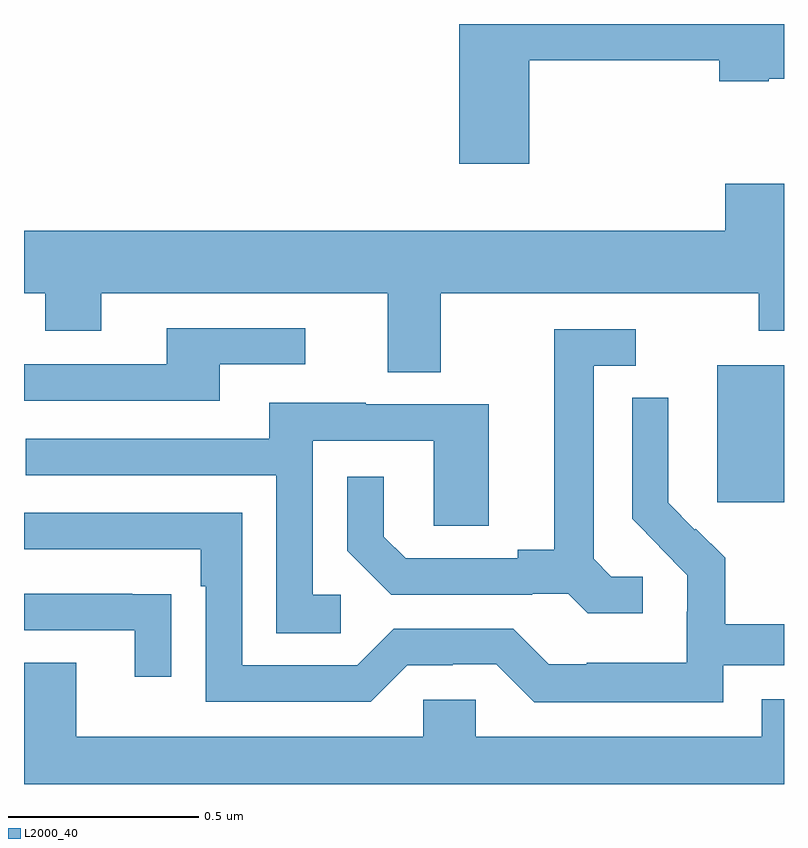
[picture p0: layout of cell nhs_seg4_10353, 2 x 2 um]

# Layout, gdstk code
import gdstk
lib = gdstk.Library(unit=1e-6, precision=1e-09)
def R(c, l, rs):  # rectangles x0, y0, x1, y1
    for r in rs: c.add(gdstk.rectangle(r[:2], r[2:], *l))
def P(c, l, *ps):  # polygons
    for p in ps: c.add(gdstk.Polygon(p, *l))
L2000_40 = (2000, 40)

nhs_seg4_10353 = lib.new_cell('nhs_seg4_10353')
R(nhs_seg4_10353, L2000_40, [(240.824,757.641,241,758.002)])
P(nhs_seg4_10353, L2000_40, [(240.329,758.805),(240.83,758.805),(240.83,758.75),(240.96,758.75),(240.96,758.756),(241,758.756),(241,758.9),(240.146,758.9),(240.146,758.532),(240.329,758.532)],
  [(240.097,758.192),(240.934,758.192),(240.934,758.093),(241,758.093),(241,758.48),(240.845,758.48),(240.845,758.356),(239,758.356),(239,758.192),(239.056,758.192),(239.056,758.093),(239.203,758.093),(239.203,758.192),(239.957,758.192),(239.957,757.984),(240.097,757.984)],
  [(239.515,758.004),(239.74,758.004),(239.74,758.1),(239.375,758.1),(239.375,758.004),(239,758.004),(239,757.908),(239.515,757.908)],
  [(240.628,757.446),(240.546,757.446),(240.499,757.493),(240.499,758.001),(240.61,758.001),(240.61,758.097),(240.395,758.097),(240.395,757.517),(240.299,757.517),(240.299,757.494),(240.004,757.494),(239.947,757.551),(239.947,757.708),(239.85,757.708),(239.85,757.514),(239.966,757.398),(240.338,757.398),(240.338,757.401),(240.432,757.401),(240.484,757.349),(240.628,757.349)],
  [(240.84,757.212),(241,757.212),(241,757.321),(240.845,757.321),(240.845,757.495),(240.768,757.572),(240.765,757.569),(240.695,757.64),(240.695,757.762),(240.696,757.762),(240.696,757.916),(240.6,757.916),(240.6,757.598),(240.673,757.525),(240.672,757.524),(240.746,757.45),(240.746,757.353),(240.744,757.353),(240.744,757.219),(240.481,757.219),(240.481,757.215),(240.381,757.215),(240.288,757.308),(239.973,757.308),(239.877,757.212),(239.574,757.212),(239.574,757.614),(239,757.614),(239,757.518),(239.465,757.518),(239.465,757.421),(239.478,757.421),(239.478,757.116),(239.913,757.116),(240.009,757.212),(240.128,757.212),(240.128,757.215),(240.243,757.215),(240.343,757.115),(240.84,757.115)],
  [(239.833,757.398),(239.76,757.398),(239.76,757.803),(240.078,757.803),(240.078,757.579),(240.223,757.579),(240.223,757.899),(239.899,757.899),(239.899,757.903),(239.645,757.903),(239.645,757.809),(239.005,757.809),(239.005,757.713),(239.664,757.713),(239.664,757.297),(239.833,757.297)],
  [(239.387,757.4),(239.285,757.4),(239.285,757.401),(239,757.401),(239,757.305),(239.291,757.305),(239.291,757.182),(239.387,757.182)],
  [(241,757.123),(240.941,757.123),(240.941,757.024),(240.189,757.024),(240.189,757.122),(240.051,757.122),(240.051,757.024),(239.137,757.024),(239.137,757.219),(239,757.219),(239,756.9),(241,756.9)])

lib.write_gds('nhs_seg4_10353.gds')
